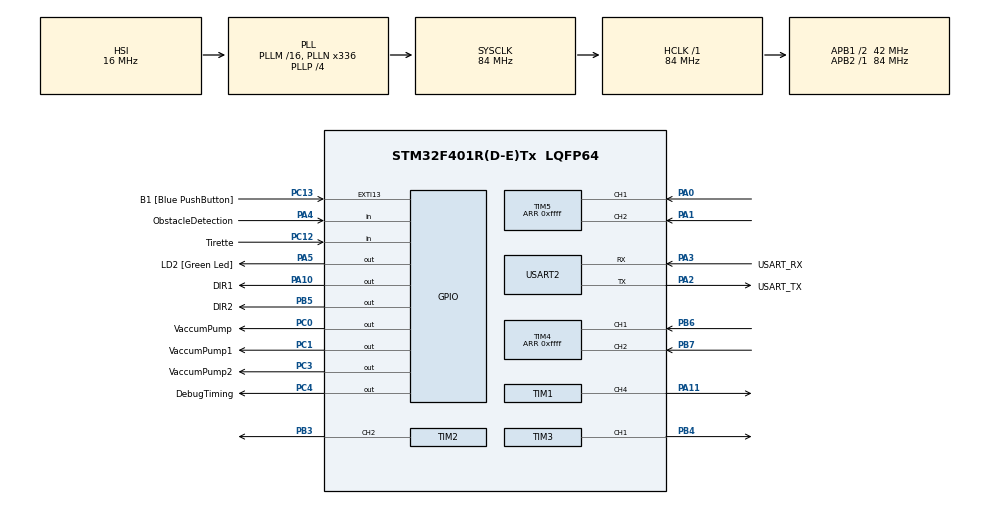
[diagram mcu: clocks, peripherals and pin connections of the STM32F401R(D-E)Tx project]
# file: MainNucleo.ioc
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Mcu.Family=STM32F4
Mcu.Name=STM32F401R(D-E)Tx
Mcu.Package=LQFP64
NVIC.PriorityGroup=NVIC_PRIORITYGROUP_0
PA0-WKUP.GPIO_PuPd=GPIO_PULLUP
PA0-WKUP.Signal=S_TIM5_CH1
PA1.GPIO_PuPd=GPIO_PULLUP
PA1.Signal=S_TIM5_CH2
PA10.GPIO_Label=DIR1
PA10.GPIO_Speed=GPIO_SPEED_FREQ_LOW
PA10.Signal=GPIO_Output
PA11.Signal=S_TIM1_CH4
PA13.GPIO_Label=TMS
PA13.Mode=Serial_Wire
PA13.Signal=SYS_JTMS-SWDIO
PA14.GPIO_Label=TCK
PA14.Mode=Serial_Wire
PA14.Signal=SYS_JTCK-SWCLK
PA2.GPIO_Label=USART_TX
PA2.GPIO_Mode=GPIO_MODE_AF_PP
PA2.GPIO_PuPd=GPIO_NOPULL
PA2.GPIO_Speed=GPIO_SPEED_FREQ_LOW
PA2.Mode=Asynchronous
PA2.Signal=USART2_TX
PA3.GPIO_Label=USART_RX
PA3.GPIO_Mode=GPIO_MODE_AF_PP
PA3.GPIO_PuPd=GPIO_NOPULL
PA3.GPIO_Speed=GPIO_SPEED_FREQ_LOW
PA3.Mode=Asynchronous
PA3.Signal=USART2_RX
PA4.GPIO_Label=ObstacleDetection
PA4.GPIO_PuPd=GPIO_PULLDOWN
PA4.Signal=GPIO_Input
PA5.GPIO_Label=LD2 [Green Led]
PA5.GPIO_Mode=GPIO_MODE_OUTPUT_PP
PA5.GPIO_PuPd=GPIO_NOPULL
PA5.GPIO_Speed=GPIO_SPEED_FREQ_LOW
PA5.Signal=GPIO_Output
PB3.Signal=S_TIM2_CH2
PB4.Signal=S_TIM3_CH1
PB5.GPIO_Label=DIR2
PB5.Signal=GPIO_Output
PB6.GPIO_PuPd=GPIO_PULLUP
PB6.Signal=S_TIM4_CH1
PB7.GPIO_PuPd=GPIO_PULLUP
PB7.Signal=S_TIM4_CH2
PC0.GPIO_Label=VaccumPump
PC0.Signal=GPIO_Output
PC1.GPIO_Label=VaccumPump1
PC1.Signal=GPIO_Output
PC12.GPIO_Label=Tirette
PC12.GPIO_PuPd=GPIO_NOPULL
PC12.Signal=GPIO_Input
PC13-ANTI_TAMP.GPIO_Label=B1 [Blue PushButton]
PC13-ANTI_TAMP.GPIO_ModeDefaultEXTI=GPIO_MODE_IT_FALLING
PC13-ANTI_TAMP.GPIO_PuPd=GPIO_NOPULL
PC13-ANTI_TAMP.Signal=GPXTI13
PC14-OSC32_IN.Mode=LSE-External-Oscillator
PC14-OSC32_IN.Signal=RCC_OSC32_IN
PC15-OSC32_OUT.Mode=LSE-External-Oscillator
PC15-OSC32_OUT.Signal=RCC_OSC32_OUT
PC3.GPIO_Label=VaccumPump2
PC3.Signal=GPIO_Output
PC4.GPIO_Label=DebugTiming
PC4.Signal=GPIO_Output
PH0\ -\ OSC_IN.Mode=HSE-External-Clock-Source
PH0\ -\ OSC_IN.Signal=RCC_OSC_IN
PH1\ -\ OSC_OUT.Mode=HSE-External-Clock-Source
PH1\ -\ OSC_OUT.Signal=RCC_OSC_OUT
ProjectManager.HeapSize=0x200
ProjectManager.StackSize=0x400
ProjectManager.TargetToolchain=Makefile
RCC.48MHZClocksFreq_Value=48000000
RCC.AHBFreq_Value=84000000
RCC.APB1CLKDivider=RCC_HCLK_DIV2
RCC.APB1Freq_Value=42000000
RCC.APB1TimFreq_Value=84000000
RCC.APB2Freq_Value=84000000
RCC.APB2TimFreq_Value=84000000
RCC.CortexFreq_Value=84000000
RCC.HCLKFreq_Value=84000000
RCC.HSE_VALUE=8000000
RCC.HSI_VALUE=16000000
RCC.PLLN=336
RCC.PLLP=RCC_PLLP_DIV4
RCC.PLLQ=7
RCC.SYSCLKFreq_VALUE=84000000
RCC.SYSCLKSource=RCC_SYSCLKSOURCE_PLLCLK
RCC.VCOOutputFreq_Value=336000000
SH.S_TIM1_CH4.0=TIM1_CH4,PWM Generation4 CH4
SH.S_TIM2_CH2.0=TIM2_CH2,PWM Generation2 CH2
SH.S_TIM3_CH1.0=TIM3_CH1,PWM Generation1 CH1
SH.S_TIM4_CH1.0=TIM4_CH1,Encoder_Interface
SH.S_TIM4_CH2.0=TIM4_CH2,Encoder_Interface
SH.S_TIM5_CH1.0=TIM5_CH1,Encoder_Interface
SH.S_TIM5_CH2.0=TIM5_CH2,Encoder_Interface
TIM1.Channel-PWM\ Generation4\ CH4=TIM_CHANNEL_4
TIM1.Period=20000
TIM1.Prescaler=72
TIM1.Pulse-PWM\ Generation4\ CH4=1500
TIM2.Channel-PWM\ Generation2\ CH2=TIM_CHANNEL_2
TIM2.Period=10000
TIM3.Channel-PWM\ Generation1\ CH1=TIM_CHANNEL_1
TIM3.Period=10000
TIM4.IC1Filter=5
TIM4.IC2Filter=5
TIM4.Period=0xffff
TIM5.IC1Filter=5
TIM5.IC2Filter=5
TIM5.Period=0xffff
USART2.VirtualMode=VM_ASYNC
board=NUCLEO-F401RE

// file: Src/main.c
/* USER CODE BEGIN Header */
/**
  ******************************************************************************
  * @file           : main.c
  * @brief          : Main program body
  ******************************************************************************
  ** This notice applies to any and all portions of this file
  * that are not between comment pairs USER CODE BEGIN and
  * USER CODE END. Other portions of this file, whether
  * inserted by the user or by software development tools
  * are owned by their respective copyright owners.
  *
  * COPYRIGHT(c) 2019 STMicroelectronics
  *
  * Redistribution and use in source and binary forms, with or without modification,
  * are permitted provided that the following conditions are met:
  *   1. Redistributions of source code must retain the above copyright notice,
  *      this list of conditions and the following disclaimer.
  *   2. Redistributions in binary form must reproduce the above copyright notice,
  *      this list of conditions and the following disclaimer in the documentation
  *      and/or other materials provided with the distribution.
  *   3. Neither the name of STMicroelectronics nor the names of its contributors
  *      may be used to endorse or promote products derived from this software
  *      without specific prior written permission.
  *
  * THIS SOFTWARE IS PROVIDED BY THE COPYRIGHT HOLDERS AND CONTRIBUTORS "AS IS"
  * AND ANY EXPRESS OR IMPLIED WARRANTIES, INCLUDING, BUT NOT LIMITED TO, THE
  * IMPLIED WARRANTIES OF MERCHANTABILITY AND FITNESS FOR A PARTICULAR PURPOSE ARE
  * DISCLAIMED. IN NO EVENT SHALL THE COPYRIGHT HOLDER OR CONTRIBUTORS BE LIABLE
  * FOR ANY DIRECT, INDIRECT, INCIDENTAL, SPECIAL, EXEMPLARY, OR CONSEQUENTIAL
  * DAMAGES (INCLUDING, BUT NOT LIMITED TO, PROCUREMENT OF SUBSTITUTE GOODS OR
  * SERVICES; LOSS OF USE, DATA, OR PROFITS; OR BUSINESS INTERRUPTION) HOWEVER
  * CAUSED AND ON ANY THEORY OF LIABILITY, WHETHER IN CONTRACT, STRICT LIABILITY,
  * OR TORT (INCLUDING NEGLIGENCE OR OTHERWISE) ARISING IN ANY WAY OUT OF THE USE
  * OF THIS SOFTWARE, EVEN IF ADVISED OF THE POSSIBILITY OF SUCH DAMAGE.
  *
  ******************************************************************************
  */
/* USER CODE END Header */

#include "main.h"

/* USER CODE BEGIN Includes */
#include "assert.h"
/* USER CODE END Includes */

/* USER CODE BEGIN PD */

#define _DEBUG 1       //print all the debug info

/* USER CODE END PD */

TIM_HandleTypeDef htim1;
TIM_HandleTypeDef htim2;
TIM_HandleTypeDef htim3;
TIM_HandleTypeDef htim4;
TIM_HandleTypeDef htim5;

UART_HandleTypeDef huart2;

void SystemClock_Config(void);
static void MX_GPIO_Init(void);
static void MX_USART2_UART_Init(void);
static void MX_TIM2_Init(void);
static void MX_TIM3_Init(void);
static void MX_TIM4_Init(void);
static void MX_TIM5_Init(void);
static void MX_TIM1_Init(void);

/* USER CODE BEGIN 0 */
double positionX = 0.0;
double positionY = 0.0;
double angle = 0.0;

int consigneDroit = 0;
int consigneGauche = 0;

int debugCounter = 0;

int tim4Tot= 0;
int tim5Tot=0;

char buffer[50] = "";
char buffer2[50] = "";

int fixedFrequency = 40;//frequency of the loop in ms
int debugMessageFrequency = 10;//in number of loop

/* USER CODE END 0 */

int main(void)
{

  /* MCU Configuration--------------------------------------------------------*/

  /* Reset of all peripherals, Initializes the Flash interface and the Systick. */
  HAL_Init();

  /* Configure the system clock */
  SystemClock_Config();

  /* Initialize all configured peripherals */
  MX_GPIO_Init();
  MX_USART2_UART_Init();
  MX_TIM2_Init();
  MX_TIM3_Init();
  MX_TIM4_Init();
  MX_TIM5_Init();
  MX_TIM1_Init();
  /* USER CODE BEGIN 2 */
  HAL_TIM_PWM_Start (&htim2, TIM_CHANNEL_2);
  HAL_TIM_PWM_Start (&htim3, TIM_CHANNEL_1);
  HAL_TIM_Encoder_Start(&htim4, TIM_CHANNEL_ALL);
  HAL_TIM_Encoder_Start(&htim5, TIM_CHANNEL_ALL);
  HAL_TIM_PWM_Start (&htim1, TIM_CHANNEL_4);
  /* USER CODE END 2 */

  /* Infinite loop */
  /* USER CODE BEGIN WHILE */
  //HAL_GPIO_WritePin(VaccumPump_GPIO_Port, VaccumPump_Pin, GPIO_PIN_SET);
  HAL_GPIO_WritePin(VaccumPump1_GPIO_Port, VaccumPump1_Pin, GPIO_PIN_RESET);
  servoPos(1500);

  HAL_UART_Transmit(&huart2, "Tire moi la tirette, que ma bobinette choisse\n", sizeof("Tire moi la tirette, que ma bobinette choisse\n"), HAL_MAX_DELAY);
  while(HAL_GPIO_ReadPin(Tirette_GPIO_Port, Tirette_Pin))
  {}
  uint32_t matchStartTicks = HAL_GetTick();

  HAL_UART_Transmit(&huart2, "Atttenzion, zest barti !\n", sizeof("Atttenzion, zest barti !\n"), HAL_MAX_DELAY);
  HAL_Delay(3000);
  uint32_t oldTicks = HAL_GetTick(); //init the time tracking variable for the fixed frequency PID

  //center the encoder values
  TIM4->CNT = 30000;
  TIM5->CNT = 30000;

  while (1)
  {
    while(HAL_GetTick() - oldTicks < fixedFrequency)
    {HAL_GPIO_WritePin(DebugTiming_GPIO_Port, DebugTiming_Pin, GPIO_PIN_SET);}
    HAL_GPIO_WritePin(DebugTiming_GPIO_Port, DebugTiming_Pin, GPIO_PIN_RESET);
    oldTicks = HAL_GetTick();

    if (HAL_GetTick() - matchStartTicks > 80000) //make sure the robot stops after 100seconds (actually 90)
    {
        HAL_UART_Transmit(&huart2, "Fin de match -- Timeout \n", sizeof("Fin de match -- Timeout \n"), HAL_MAX_DELAY);
        moteurGauche(0);
		moteurDroit(0);
        HAL_GPIO_WritePin(VaccumPump1_GPIO_Port, VaccumPump1_Pin, GPIO_PIN_RESET);
        while(1){}
    }
    /*
    if (HAL_GPIO_ReadPin(ObstacleDetection_GPIO_Port, ObstacleDetection_Pin))
    {
        HAL_UART_Transmit(&huart2, "Fin de match -- Obstacle \n", sizeof("Fin de match -- Obstacle \n"), HAL_MAX_DELAY);
        moteurGauche(0);
		moteurDroit(0);
        while(1){}
    }
    */

    int tim4 = (TIM4->CNT-30000);
    int tim5 = (-TIM5->CNT+30000);
    TIM4->CNT = 30000;
    TIM5->CNT = 30000;

    //tim5 *= 1.0422;

    updatePos(tim4, tim5, &positionX, &positionY, &angle);
    tim4Tot += tim4;//for debug
    tim5Tot += tim5;

    stateMachine(&consigneDroit, &consigneGauche, positionX, positionY, angle, tim4, tim5, huart2);

    moteurGauche(consigneGauche);
    moteurDroit(consigneDroit);

    debugCounter += 1;
    if (_DEBUG == 1)
    {
        if (debugCounter == debugMessageFrequency)
        {
            sprintf(buffer, "pos : %f / %f / %f\n",positionX, positionY, (angle*1000));
            HAL_UART_Transmit(&huart2, buffer, sizeof(buffer), HAL_MAX_DELAY);
            sprintf(buffer2, "tot : %d / %d / %d / %d\n",tim4Tot, tim5Tot, consigneDroit, consigneGauche);
            HAL_UART_Transmit(&huart2, buffer2, sizeof(buffer2), HAL_MAX_DELAY);
            debugCounter = 0;
        }
    }

    /* USER CODE END WHILE */

  }
}

void SystemClock_Config(void)
{
  RCC_OscInitTypeDef RCC_OscInitStruct = {0};
  RCC_ClkInitTypeDef RCC_ClkInitStruct = {0};

  /**Configure the main internal regulator output voltage
  */
  __HAL_RCC_PWR_CLK_ENABLE();
  __HAL_PWR_VOLTAGESCALING_CONFIG(PWR_REGULATOR_VOLTAGE_SCALE2);
  /**Initializes the CPU, AHB and APB busses clocks
  */
  RCC_OscInitStruct.OscillatorType = RCC_OSCILLATORTYPE_HSI;
  RCC_OscInitStruct.HSIState = RCC_HSI_ON;
  RCC_OscInitStruct.HSICalibrationValue = RCC_HSICALIBRATION_DEFAULT;
  RCC_OscInitStruct.PLL.PLLState = RCC_PLL_ON;
  RCC_OscInitStruct.PLL.PLLSource = RCC_PLLSOURCE_HSI;
  RCC_OscInitStruct.PLL.PLLM = 16;
  RCC_OscInitStruct.PLL.PLLN = 336;
  RCC_OscInitStruct.PLL.PLLP = RCC_PLLP_DIV4;
  RCC_OscInitStruct.PLL.PLLQ = 7;
  if (HAL_RCC_OscConfig(&RCC_OscInitStruct) != HAL_OK)
  {
    Error_Handler();
  }
  /**Initializes the CPU, AHB and APB busses clocks
  */
  RCC_ClkInitStruct.ClockType = RCC_CLOCKTYPE_HCLK|RCC_CLOCKTYPE_SYSCLK
                              |RCC_CLOCKTYPE_PCLK1|RCC_CLOCKTYPE_PCLK2;
  RCC_ClkInitStruct.SYSCLKSource = RCC_SYSCLKSOURCE_PLLCLK;
  RCC_ClkInitStruct.AHBCLKDivider = RCC_SYSCLK_DIV1;
  RCC_ClkInitStruct.APB1CLKDivider = RCC_HCLK_DIV2;
  RCC_ClkInitStruct.APB2CLKDivider = RCC_HCLK_DIV1;

  if (HAL_RCC_ClockConfig(&RCC_ClkInitStruct, FLASH_LATENCY_2) != HAL_OK)
  {
    Error_Handler();
  }
}

static void MX_TIM1_Init(void)
{

  TIM_MasterConfigTypeDef sMasterConfig = {0};
  TIM_OC_InitTypeDef sConfigOC = {0};
  TIM_BreakDeadTimeConfigTypeDef sBreakDeadTimeConfig = {0};

  htim1.Instance = TIM1;
  htim1.Init.Prescaler = 72;
  htim1.Init.CounterMode = TIM_COUNTERMODE_UP;
  htim1.Init.Period = 20000;
  htim1.Init.ClockDivision = TIM_CLOCKDIVISION_DIV1;
  htim1.Init.RepetitionCounter = 0;
  if (HAL_TIM_PWM_Init(&htim1) != HAL_OK)
  {
    Error_Handler();
  }
  sMasterConfig.MasterOutputTrigger = TIM_TRGO_RESET;
  sMasterConfig.MasterSlaveMode = TIM_MASTERSLAVEMODE_DISABLE;
  if (HAL_TIMEx_MasterConfigSynchronization(&htim1, &sMasterConfig) != HAL_OK)
  {
    Error_Handler();
  }
  sConfigOC.OCMode = TIM_OCMODE_PWM1;
  sConfigOC.Pulse = 1500;
  sConfigOC.OCPolarity = TIM_OCPOLARITY_HIGH;
  sConfigOC.OCFastMode = TIM_OCFAST_DISABLE;
  sConfigOC.OCIdleState = TIM_OCIDLESTATE_RESET;
  sConfigOC.OCNIdleState = TIM_OCNIDLESTATE_RESET;
  if (HAL_TIM_PWM_ConfigChannel(&htim1, &sConfigOC, TIM_CHANNEL_4) != HAL_OK)
  {
    Error_Handler();
  }
  sBreakDeadTimeConfig.OffStateRunMode = TIM_OSSR_DISABLE;
  sBreakDeadTimeConfig.OffStateIDLEMode = TIM_OSSI_DISABLE;
  sBreakDeadTimeConfig.LockLevel = TIM_LOCKLEVEL_OFF;
  sBreakDeadTimeConfig.DeadTime = 0;
  sBreakDeadTimeConfig.BreakState = TIM_BREAK_DISABLE;
  sBreakDeadTimeConfig.BreakPolarity = TIM_BREAKPOLARITY_HIGH;
  sBreakDeadTimeConfig.AutomaticOutput = TIM_AUTOMATICOUTPUT_DISABLE;
  if (HAL_TIMEx_ConfigBreakDeadTime(&htim1, &sBreakDeadTimeConfig) != HAL_OK)
  {
    Error_Handler();
  }
  HAL_TIM_MspPostInit(&htim1);

}

static void MX_TIM2_Init(void)
{

  TIM_MasterConfigTypeDef sMasterConfig = {0};
  TIM_OC_InitTypeDef sConfigOC = {0};

  htim2.Instance = TIM2;
  htim2.Init.Prescaler = 0;
  htim2.Init.CounterMode = TIM_COUNTERMODE_UP;
  htim2.Init.Period = 10000;
  htim2.Init.ClockDivision = TIM_CLOCKDIVISION_DIV1;
  if (HAL_TIM_PWM_Init(&htim2) != HAL_OK)
  {
    Error_Handler();
  }
  sMasterConfig.MasterOutputTrigger = TIM_TRGO_RESET;
  sMasterConfig.MasterSlaveMode = TIM_MASTERSLAVEMODE_DISABLE;
  if (HAL_TIMEx_MasterConfigSynchronization(&htim2, &sMasterConfig) != HAL_OK)
  {
    Error_Handler();
  }
  sConfigOC.OCMode = TIM_OCMODE_PWM1;
  sConfigOC.Pulse = 0;
  sConfigOC.OCPolarity = TIM_OCPOLARITY_HIGH;
  sConfigOC.OCFastMode = TIM_OCFAST_DISABLE;
  if (HAL_TIM_PWM_ConfigChannel(&htim2, &sConfigOC, TIM_CHANNEL_2) != HAL_OK)
  {
    Error_Handler();
  }
  HAL_TIM_MspPostInit(&htim2);

}

static void MX_TIM3_Init(void)
{

  TIM_MasterConfigTypeDef sMasterConfig = {0};
  TIM_OC_InitTypeDef sConfigOC = {0};

  htim3.Instance = TIM3;
  htim3.Init.Prescaler = 0;
  htim3.Init.CounterMode = TIM_COUNTERMODE_UP;
  htim3.Init.Period = 10000;
  htim3.Init.ClockDivision = TIM_CLOCKDIVISION_DIV1;
  if (HAL_TIM_PWM_Init(&htim3) != HAL_OK)
  {
    Error_Handler();
  }
  sMasterConfig.MasterOutputTrigger = TIM_TRGO_RESET;
  sMasterConfig.MasterSlaveMode = TIM_MASTERSLAVEMODE_DISABLE;
  if (HAL_TIMEx_MasterConfigSynchronization(&htim3, &sMasterConfig) != HAL_OK)
  {
    Error_Handler();
  }
  sConfigOC.OCMode = TIM_OCMODE_PWM1;
  sConfigOC.Pulse = 0;
  sConfigOC.OCPolarity = TIM_OCPOLARITY_HIGH;
  sConfigOC.OCFastMode = TIM_OCFAST_DISABLE;
  if (HAL_TIM_PWM_ConfigChannel(&htim3, &sConfigOC, TIM_CHANNEL_1) != HAL_OK)
  {
    Error_Handler();
  }
  HAL_TIM_MspPostInit(&htim3);

}

static void MX_TIM4_Init(void)
{

  TIM_Encoder_InitTypeDef sConfig = {0};
  TIM_MasterConfigTypeDef sMasterConfig = {0};

  htim4.Instance = TIM4;
  htim4.Init.Prescaler = 0;
  htim4.Init.CounterMode = TIM_COUNTERMODE_UP;
  htim4.Init.Period = 0xffff;
  htim4.Init.ClockDivision = TIM_CLOCKDIVISION_DIV1;
  sConfig.EncoderMode = TIM_ENCODERMODE_TI1;
  sConfig.IC1Polarity = TIM_ICPOLARITY_RISING;
  sConfig.IC1Selection = TIM_ICSELECTION_DIRECTTI;
  sConfig.IC1Prescaler = TIM_ICPSC_DIV1;
  sConfig.IC1Filter = 5;
  sConfig.IC2Polarity = TIM_ICPOLARITY_RISING;
  sConfig.IC2Selection = TIM_ICSELECTION_DIRECTTI;
  sConfig.IC2Prescaler = TIM_ICPSC_DIV1;
  sConfig.IC2Filter = 5;
  if (HAL_TIM_Encoder_Init(&htim4, &sConfig) != HAL_OK)
  {
    Error_Handler();
  }
  sMasterConfig.MasterOutputTrigger = TIM_TRGO_RESET;
  sMasterConfig.MasterSlaveMode = TIM_MASTERSLAVEMODE_DISABLE;
  if (HAL_TIMEx_MasterConfigSynchronization(&htim4, &sMasterConfig) != HAL_OK)
  {
    Error_Handler();
  }

}

static void MX_TIM5_Init(void)
{

  TIM_Encoder_InitTypeDef sConfig = {0};
  TIM_MasterConfigTypeDef sMasterConfig = {0};

  htim5.Instance = TIM5;
  htim5.Init.Prescaler = 0;
  htim5.Init.CounterMode = TIM_COUNTERMODE_UP;
  htim5.Init.Period = 0xffff;
  htim5.Init.ClockDivision = TIM_CLOCKDIVISION_DIV1;
  sConfig.EncoderMode = TIM_ENCODERMODE_TI1;
  sConfig.IC1Polarity = TIM_ICPOLARITY_RISING;
  sConfig.IC1Selection = TIM_ICSELECTION_DIRECTTI;
  sConfig.IC1Prescaler = TIM_ICPSC_DIV1;
  sConfig.IC1Filter = 5;
  sConfig.IC2Polarity = TIM_ICPOLARITY_RISING;
  sConfig.IC2Selection = TIM_ICSELECTION_DIRECTTI;
  sConfig.IC2Prescaler = TIM_ICPSC_DIV1;
  sConfig.IC2Filter = 5;
  if (HAL_TIM_Encoder_Init(&htim5, &sConfig) != HAL_OK)
  {
    Error_Handler();
  }
  sMasterConfig.MasterOutputTrigger = TIM_TRGO_RESET;
  sMasterConfig.MasterSlaveMode = TIM_MASTERSLAVEMODE_DISABLE;
  if (HAL_TIMEx_MasterConfigSynchronization(&htim5, &sMasterConfig) != HAL_OK)
  {
    Error_Handler();
  }

}

static void MX_USART2_UART_Init(void)
{

  huart2.Instance = USART2;
  huart2.Init.BaudRate = 115200;
  huart2.Init.WordLength = UART_WORDLENGTH_8B;
  huart2.Init.StopBits = UART_STOPBITS_1;
  huart2.Init.Parity = UART_PARITY_NONE;
  huart2.Init.Mode = UART_MODE_TX_RX;
  huart2.Init.HwFlowCtl = UART_HWCONTROL_NONE;
  huart2.Init.OverSampling = UART_OVERSAMPLING_16;
  if (HAL_UART_Init(&huart2) != HAL_OK)
  {
    Error_Handler();
  }

}

static void MX_GPIO_Init(void)
{
  GPIO_InitTypeDef GPIO_InitStruct = {0};

  /* GPIO Ports Clock Enable */
  __HAL_RCC_GPIOC_CLK_ENABLE();
  __HAL_RCC_GPIOH_CLK_ENABLE();
  __HAL_RCC_GPIOA_CLK_ENABLE();
  __HAL_RCC_GPIOB_CLK_ENABLE();

  /*Configure GPIO pin Output Level */
  HAL_GPIO_WritePin(GPIOC, VaccumPump_Pin|VaccumPump1_Pin|VaccumPump2_Pin|DebugTiming_Pin, GPIO_PIN_RESET);

  /*Configure GPIO pin Output Level */
  HAL_GPIO_WritePin(GPIOA, LD2_Pin|DIR1_Pin, GPIO_PIN_RESET);

  /*Configure GPIO pin Output Level */
  HAL_GPIO_WritePin(DIR2_GPIO_Port, DIR2_Pin, GPIO_PIN_RESET);

  /*Configure GPIO pin : B1_Pin */
  GPIO_InitStruct.Pin = B1_Pin;
  GPIO_InitStruct.Mode = GPIO_MODE_IT_FALLING;
  GPIO_InitStruct.Pull = GPIO_NOPULL;
  HAL_GPIO_Init(B1_GPIO_Port, &GPIO_InitStruct);

  /*Configure GPIO pins : VaccumPump_Pin VaccumPump1_Pin VaccumPump2_Pin DebugTiming_Pin */
  GPIO_InitStruct.Pin = VaccumPump_Pin|VaccumPump1_Pin|VaccumPump2_Pin|DebugTiming_Pin;
  GPIO_InitStruct.Mode = GPIO_MODE_OUTPUT_PP;
  GPIO_InitStruct.Pull = GPIO_NOPULL;
  GPIO_InitStruct.Speed = GPIO_SPEED_FREQ_LOW;
  HAL_GPIO_Init(GPIOC, &GPIO_InitStruct);

  /*Configure GPIO pin : ObstacleDetection_Pin */
  GPIO_InitStruct.Pin = ObstacleDetection_Pin;
  GPIO_InitStruct.Mode = GPIO_MODE_INPUT;
  GPIO_InitStruct.Pull = GPIO_PULLDOWN;
  HAL_GPIO_Init(ObstacleDetection_GPIO_Port, &GPIO_InitStruct);

  /*Configure GPIO pins : LD2_Pin DIR1_Pin */
  GPIO_InitStruct.Pin = LD2_Pin|DIR1_Pin;
  GPIO_InitStruct.Mode = GPIO_MODE_OUTPUT_PP;
  GPIO_InitStruct.Pull = GPIO_NOPULL;
  GPIO_InitStruct.Speed = GPIO_SPEED_FREQ_LOW;
  HAL_GPIO_Init(GPIOA, &GPIO_InitStruct);

  /*Configure GPIO pin : Tirette_Pin */
  GPIO_InitStruct.Pin = Tirette_Pin;
  GPIO_InitStruct.Mode = GPIO_MODE_INPUT;
  GPIO_InitStruct.Pull = GPIO_NOPULL;
  HAL_GPIO_Init(Tirette_GPIO_Port, &GPIO_InitStruct);

  /*Configure GPIO pin : DIR2_Pin */
  GPIO_InitStruct.Pin = DIR2_Pin;
  GPIO_InitStruct.Mode = GPIO_MODE_OUTPUT_PP;
  GPIO_InitStruct.Pull = GPIO_NOPULL;
  GPIO_InitStruct.Speed = GPIO_SPEED_FREQ_LOW;
  HAL_GPIO_Init(DIR2_GPIO_Port, &GPIO_InitStruct);

}

/* USER CODE BEGIN 4 */
void moteurDroit(int PWM)
{
    if(PWM == abs(PWM))
    {
        HAL_GPIO_WritePin(DIR1_GPIO_Port, DIR1_Pin, GPIO_PIN_RESET);
    }
    else
    {
        HAL_GPIO_WritePin(DIR1_GPIO_Port, DIR1_Pin, GPIO_PIN_SET);
    }
    if (abs(PWM) > 10000)
    {
		htim2.Instance->CCR2 = 10000;
    }
    else
    {
		htim2.Instance->CCR2 = abs(PWM);
	}
}

void moteurGauche(int PWM)
{
    if(PWM == abs(PWM))
    {
        HAL_GPIO_WritePin(DIR2_GPIO_Port, DIR2_Pin, GPIO_PIN_SET);
    }
    else
    {
        HAL_GPIO_WritePin(DIR2_GPIO_Port, DIR2_Pin, GPIO_PIN_RESET);
    }
    if (abs(PWM) > 10000)
    {
		htim3.Instance->CCR1 = 10000;
    }
    else
    {
		htim3.Instance->CCR1 = abs(PWM);
	}
}

void servoPos(int Pos)
{
	htim1.Instance->CCR4 = Pos;//servo
}

void resetPos()
{
    positionX = 0.0;
    positionY = 0.0;
    angle = 0.0;
}

/* USER CODE END 4 */

void Error_Handler(void)
{
}

/************************ (C) COPYRIGHT STMicroelectronics *****END OF FILE****/
